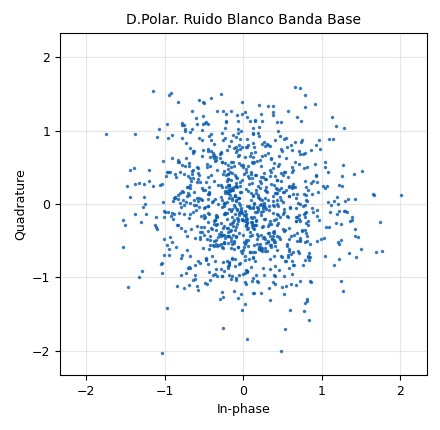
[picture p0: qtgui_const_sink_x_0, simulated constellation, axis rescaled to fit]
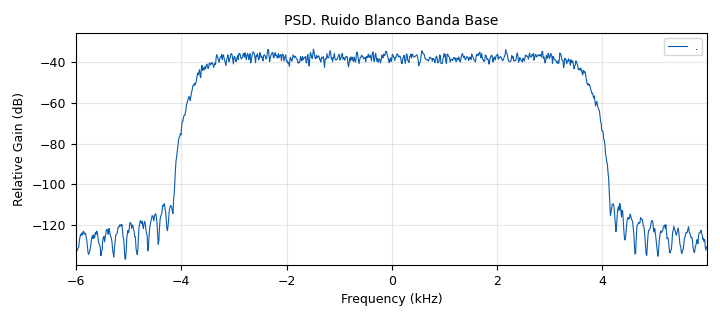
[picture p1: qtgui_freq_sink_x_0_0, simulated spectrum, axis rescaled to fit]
<?xml version='1.0' encoding='utf-8'?>
<?grc format='1' created='3.7.13'?>
<flow_graph>
<block>
<key>options</key>
<param><key>id</key><value>top_block</value></param>
<param><key>category</key><value>Custom</value></param>
<param><key>generate_options</key><value>qt_gui</value></param>
</block>
<block>
<key>variable</key>
<param><key>id</key><value>B</value></param>
<param><key>value</key><value>8000</value></param>
</block>
<block>
<key>variable</key>
<param><key>id</key><value>BW</value></param>
<param><key>value</key><value>B/2</value></param>
</block>
<block>
<key>variable</key>
<param><key>id</key><value>Fs2</value></param>
<param><key>value</key><value>int(samp_rate*1.5)</value></param>
</block>
<block>
<key>variable</key>
<param><key>id</key><value>No</value></param>
<param><key>value</key><value>math.pow(10,No_dB/10.)</value></param>
</block>
<block>
<key>variable</key>
<param><key>id</key><value>No_dB</value></param>
<param><key>value</key><value>-40</value></param>
</block>
<block>
<key>variable</key>
<param><key>id</key><value>P</value></param>
<param><key>value</key><value>No*2*BW</value></param>
</block>
<block>
<key>variable</key>
<param><key>id</key><value>Vrms</value></param>
<param><key>value</key><value>math.sqrt(P)</value></param>
</block>
<block>
<key>variable</key>
<param><key>id</key><value>samp_rate</value></param>
<param><key>value</key><value>2*BW</value></param>
</block>
<block>
<key>analog_noise_source_x</key>
<param><key>id</key><value>analog_noise_source_x_0</value></param>
<param><key>amp</key><value>Vrms</value></param>
<param><key>noise_type</key><value>analog.GR_GAUSSIAN</value></param>
<param><key>type</key><value>complex</value></param>
<param><key>seed</key><value>0</value></param>
</block>
<block>
<key>import</key>
<param><key>id</key><value>import_0</value></param>
<param><key>import</key><value>import math</value></param>
</block>
<block>
<key>qtgui_const_sink_x</key>
<param><key>id</key><value>qtgui_const_sink_x_0</value></param>
<param><key>gui_hint</key><value>2,1,1,1</value></param>
<param><key>legend</key><value>False</value></param>
<param><key>label1</key><value>.</value></param>
<param><key>width1</key><value>3</value></param>
<param><key>name</key><value>"D.Polar. Ruido Blanco Banda Base"</value></param>
<param><key>size</key><value>1024</value></param>
<param><key>type</key><value>complex</value></param>
<param><key>xmax</key><value>0.0003</value></param>
<param><key>xmin</key><value>-0.0003</value></param>
<param><key>ymax</key><value>0.0003</value></param>
<param><key>ymin</key><value>-0.0003</value></param>
</block>
<block>
<key>qtgui_freq_sink_x</key>
<param><key>id</key><value>qtgui_freq_sink_x_0_0</value></param>
<param><key>average</key><value>0.05</value></param>
<param><key>bw</key><value>Fs2</value></param>
<param><key>fc</key><value>0</value></param>
<param><key>fftsize</key><value>1024</value></param>
<param><key>gui_hint</key><value>2,0,1,1</value></param>
<param><key>label1</key><value>.</value></param>
<param><key>width1</key><value>3</value></param>
<param><key>name</key><value>"PSD. Ruido Blanco Banda Base"</value></param>
<param><key>showports</key><value>True</value></param>
<param><key>type</key><value>complex</value></param>
<param><key>wintype</key><value>firdes.WIN_BLACKMAN_hARRIS</value></param>
<param><key>ymax</key><value>-50</value></param>
<param><key>ymin</key><value>-200</value></param>
</block>
<block>
<key>rational_resampler_xxx</key>
<param><key>id</key><value>rational_resampler_xxx_0</value></param>
<param><key>decim</key><value>samp_rate</value></param>
<param><key>interp</key><value>Fs2</value></param>
<param><key>taps</key><value></value></param>
<param><key>type</key><value>ccc</value></param>
</block>
<block>
<key>virtual_sink</key>
<param><key>id</key><value>virtual_sink_0</value></param>
<param><key>stream_id</key><value>T0</value></param>
</block>
<block>
<key>virtual_source</key>
<param><key>id</key><value>virtual_source_0</value></param>
<param><key>stream_id</key><value>T0</value></param>
</block>
<connection><source_block_id>analog_noise_source_x_0</source_block_id><sink_block_id>virtual_sink_0</sink_block_id><source_key>0</source_key><sink_key>0</sink_key></connection>
<connection><source_block_id>rational_resampler_xxx_0</source_block_id><sink_block_id>qtgui_const_sink_x_0</sink_block_id><source_key>0</source_key><sink_key>0</sink_key></connection>
<connection><source_block_id>rational_resampler_xxx_0</source_block_id><sink_block_id>qtgui_freq_sink_x_0_0</sink_block_id><source_key>0</source_key><sink_key>0</sink_key></connection>
<connection><source_block_id>virtual_source_0</source_block_id><sink_block_id>rational_resampler_xxx_0</sink_block_id><source_key>0</source_key><sink_key>0</sink_key></connection>
</flow_graph>
